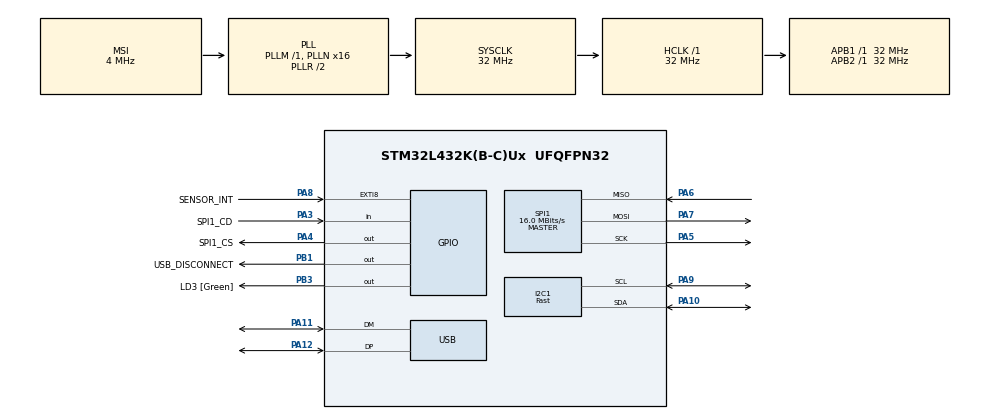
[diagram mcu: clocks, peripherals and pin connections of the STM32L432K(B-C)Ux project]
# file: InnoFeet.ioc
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I2C1.DualAddressMode=I2C_DUALADDRESS_DISABLE
I2C1.I2C_Speed_Mode=I2C_Fast
I2C1.Timing=0x00300F38
Mcu.Family=STM32L4
Mcu.Name=STM32L432K(B-C)Ux
Mcu.Package=UFQFPN32
NVIC.EXTI9_5_IRQn=true\:3\:0\:true\:false\:true\:true
NVIC.PriorityGroup=NVIC_PRIORITYGROUP_4
NVIC.USB_IRQn=true\:0\:0\:false\:false\:true\:false
PA0.GPIO_Label=MCO [High speed clock in]
PA0.Mode=HSE-External-Clock-Source-for-LittleOrca
PA0.Signal=RCC_CK_IN
PA10.Mode=I2C
PA10.Signal=I2C1_SDA
PA11.Mode=Device
PA11.Signal=USB_DM
PA12.Mode=Device
PA12.Signal=USB_DP
PA13\ (JTMS-SWDIO).GPIO_Label=SWDIO
PA13\ (JTMS-SWDIO).Signal=SYS_JTMS-SWDIO
PA14\ (JTCK-SWCLK).GPIO_Label=SWCLK
PA14\ (JTCK-SWCLK).Signal=SYS_JTCK-SWCLK
PA15\ (JTDI).GPIO_Label=VCP_RX
PA15\ (JTDI).Signal=USART2_RX
PA2.GPIO_Label=VCP_TX
PA2.Signal=USART2_TX
PA3.GPIO_Label=SPI1_CD
PA3.Signal=GPIO_Input
PA4.GPIO_Label=SPI1_CS
PA4.Signal=GPIO_Output
PA5.Mode=Full_Duplex_Master
PA5.Signal=SPI1_SCK
PA6.Mode=Full_Duplex_Master
PA6.Signal=SPI1_MISO
PA7.Mode=Full_Duplex_Master
PA7.Signal=SPI1_MOSI
PA8.GPIO_Label=SENSOR_INT
PA8.GPIO_ModeDefaultEXTI=GPIO_MODE_IT_RISING
PA8.Signal=GPXTI8
PA9.Mode=I2C
PA9.Signal=I2C1_SCL
PB1.GPIO_Label=USB_DISCONNECT
PB1.Signal=GPIO_Output
PB3\ (JTDO-TRACESWO).GPIO_Label=LD3 [Green]
PB3\ (JTDO-TRACESWO).Signal=GPIO_Output
PC14-OSC32_IN\ (PC14).Signal=RCC_OSC32_IN
PC15-OSC32_OUT\ (PC15).Signal=RCC_OSC32_OUT
ProjectManager.HeapSize=0x200
ProjectManager.StackSize=0x400
ProjectManager.TargetToolchain=TrueSTUDIO
RCC.ADCFreq_Value=48000000
RCC.AHBFreq_Value=32000000
RCC.APB1Freq_Value=32000000
RCC.APB1TimFreq_Value=32000000
RCC.APB2Freq_Value=32000000
RCC.APB2TimFreq_Value=32000000
RCC.CortexFreq_Value=32000000
RCC.HCLKFreq_Value=32000000
RCC.HSE_VALUE=8000000
RCC.HSI16_VALUE=16000000
RCC.HSI48_VALUE=48000000
RCC.HSI_VALUE=16000000
RCC.LSE_VALUE=0
RCC.MSI_VALUE=4000000
RCC.PLLMUL=RCC_PLLMUL_4
RCC.PLLN=16
RCC.PLLSAI1N=24
RCC.SYSCLKFreq_VALUE=32000000
RCC.SYSCLKSource=RCC_SYSCLKSOURCE_PLLCLK
RCC.USBFreq_Value=48000000
RCC.VCOOutputFreq_Value=64000000
SPI1.CalculateBaudRate=16.0 MBits/s
SPI1.DataSize=SPI_DATASIZE_8BIT
SPI1.Direction=SPI_DIRECTION_2LINES
SPI1.Mode=SPI_MODE_MASTER
SPI1.VirtualType=VM_MASTER
USB_DEVICE.CLASS_NAME_FS=MSC
USB_DEVICE.VirtualMode=Msc
USB_DEVICE.VirtualModeFS=Msc_FS
VP_FATFS_VS_Generic.Mode=User_defined
VP_USB_DEVICE_VS_USB_DEVICE_MSC_FS.Mode=MSC_FS
board=NUCLEO-L432KC

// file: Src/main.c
/**
  ******************************************************************************
  * @file           : main.c
  * @brief          : Main program body
  ******************************************************************************
  * This notice applies to any and all portions of this file
  * that are not between comment pairs USER CODE BEGIN and
  * USER CODE END. Other portions of this file, whether
  * inserted by the user or by software development tools
  * are owned by their respective copyright owners.
  *
  * Copyright (c) 2018 STMicroelectronics International N.V.
  * All rights reserved.
  *
  * Redistribution and use in source and binary forms, with or without
  * modification, are permitted, provided that the following conditions are met:
  *
  * 1. Redistribution of source code must retain the above copyright notice,
  *    this list of conditions and the following disclaimer.
  * 2. Redistributions in binary form must reproduce the above copyright notice,
  *    this list of conditions and the following disclaimer in the documentation
  *    and/or other materials provided with the distribution.
  * 3. Neither the name of STMicroelectronics nor the names of other
  *    contributors to this software may be used to endorse or promote products
  *    derived from this software without specific written permission.
  * 4. This software, including modifications and/or derivative works of this
  *    software, must execute solely and exclusively on microcontroller or
  *    microprocessor devices manufactured by or for STMicroelectronics.
  * 5. Redistribution and use of this software other than as permitted under
  *    this license is void and will automatically terminate your rights under
  *    this license.
  *
  * THIS SOFTWARE IS PROVIDED BY STMICROELECTRONICS AND CONTRIBUTORS "AS IS"
  * AND ANY EXPRESS, IMPLIED OR STATUTORY WARRANTIES, INCLUDING, BUT NOT
  * LIMITED TO, THE IMPLIED WARRANTIES OF MERCHANTABILITY, FITNESS FOR A
  * PARTICULAR PURPOSE AND NON-INFRINGEMENT OF THIRD PARTY INTELLECTUAL PROPERTY
  * RIGHTS ARE DISCLAIMED TO THE FULLEST EXTENT PERMITTED BY LAW. IN NO EVENT
  * SHALL STMICROELECTRONICS OR CONTRIBUTORS BE LIABLE FOR ANY DIRECT, INDIRECT,
  * INCIDENTAL, SPECIAL, EXEMPLARY, OR CONSEQUENTIAL DAMAGES (INCLUDING, BUT NOT
  * LIMITED TO, PROCUREMENT OF SUBSTITUTE GOODS OR SERVICES; LOSS OF USE, DATA,
  * OR PROFITS; OR BUSINESS INTERRUPTION) HOWEVER CAUSED AND ON ANY THEORY OF
  * LIABILITY, WHETHER IN CONTRACT, STRICT LIABILITY, OR TORT (INCLUDING
  * NEGLIGENCE OR OTHERWISE) ARISING IN ANY WAY OUT OF THE USE OF THIS SOFTWARE,
  * EVEN IF ADVISED OF THE POSSIBILITY OF SUCH DAMAGE.
  *
  ******************************************************************************
  */
#include "main.h"
#include "stm32l4xx_hal.h"
#include "fatfs.h"

/* USER CODE BEGIN Includes */
#include <math.h>
#include "sentral.h"

/* USER CODE END Includes */

I2C_HandleTypeDef hi2c1;

SPI_HandleTypeDef hspi1;

/* USER CODE BEGIN PV */
/* Private variables ---------------------------------------------------------*/
static SENtral* sensor;
static FIL file_data_out;
static volatile int interrupted = 0;

enum enState {STATE_ERROR, STATE_STARTING, STATE_MEASURING, STATE_WRITING};
enum enState state = STATE_STARTING;
#define INT_ERROR_BITS (SENtralBitFlags.Error | SENtralBitFlags.CPURest)

/* USER CODE END PV */

void SystemClock_Config(void);
static void MX_GPIO_Init(void);
static void MX_SPI1_Init(void);
static void MX_I2C1_Init(void);

/* USER CODE BEGIN PFP */
/* Private function prototypes -----------------------------------------------*/
static int read_i2c_bytes_cb(int dev_address, int mem_address, byte* const buffer, int n){
	if(HAL_OK == HAL_I2C_Mem_Read(&hi2c1, dev_address, mem_address, 1, buffer, n, 100))
		return SUCCESS;
	else return ERROR;
}
static int write_i2c_bytes_cb(int dev_address, int mem_address, const byte* bytes, int n){
	if(HAL_OK == HAL_I2C_Mem_Write(&hi2c1, dev_address, mem_address, 1, (u_int8_t*)bytes, n, 100))
		return SUCCESS;
	else return ERROR;
}
void blink(int count, int freq) {
	HAL_GPIO_WritePin(LD3_GPIO_Port, LD3_Pin, 0);
	HAL_Delay(freq);

	while(count > 0) {
		HAL_GPIO_TogglePin(LD3_GPIO_Port, LD3_Pin);
		HAL_Delay(freq);
		HAL_GPIO_TogglePin(LD3_GPIO_Port, LD3_Pin);
		HAL_Delay(freq);
		count--;
	}
	HAL_Delay(freq);
}
/* USER CODE END PFP */

int main(void)
{

  /* MCU Configuration----------------------------------------------------------*/

  /* Reset of all peripherals, Initializes the Flash interface and the Systick. */
  HAL_Init();

  /* Configure the system clock */
  SystemClock_Config();

  /* USER CODE BEGIN SysInit */
  HAL_NVIC_DisableIRQ(EXTI9_5_IRQn);
  /* USER CODE END SysInit */

  /* Initialize all configured peripherals */
  MX_GPIO_Init();
  MX_SPI1_Init();
  MX_FATFS_Init();
  MX_I2C1_Init();
  /* USER CODE BEGIN 2 */

  // Initialize memory card
  char* csv_header = "t,qt,qx,qy,qz,qw,mt,mx,my,mz,at,ax,ay,az,gt,gx,gy,gz\n";

  FATFS fs;
  (		f_mount(&fs, "0:", 1) == FR_OK																			)
  && (	f_open(&file_data_out, "data.csv", FA_CREATE_ALWAYS | FA_WRITE) == FR_OK								)
  && (	f_puts(csv_header, &file_data_out) != -1																)
  && (	state = STATE_STARTING																					)
  || (	state = STATE_ERROR																						);

  // Initialize sensor device
  I2C_Interface* i2c = i2c_init(SENtral_DEVICE_ADDRESS << 1, &read_i2c_bytes_cb, &write_i2c_bytes_cb);
  SENtralInit init = SENtralInitDefaults;

  sensor = sentral_init(i2c, init);
  ((	sentral_get_error(sensor) 								== SUCCESS										)
  && (	state 													== STATE_STARTING								)
//  && (	sentral_set_accl_range(sensor, 16)						== SUCCESS										)
//  && (	sentral_set_gyro_range(sensor, 2000)					== SUCCESS										)
  && (  state = STATE_MEASURING																					))
  || (	state = STATE_ERROR																						);

  HAL_GPIO_WritePin(LD3_GPIO_Port, LD3_Pin, 1);
  HAL_NVIC_EnableIRQ(EXTI9_5_IRQn);
  /* USER CODE END 2 */

  /* Infinite loop */
  while (1) {

  /* USER CODE BEGIN 3 */
   	  if(interrupted && state == STATE_MEASURING) {
   		  interrupted = 0;
   		  byte interrupt_cause;

   		  char str[200];
   		  float tb[4];
   		  float mb[13];
   		  sentral_measure_all(sensor, mb, tb);

   		  ( sentral_interrupts_clear(sensor, &interrupt_cause) == SUCCESS )
		  && !( interrupt_cause & INT_ERROR_BITS)
   		  && sprintf(
  			  str,
  			  "%lu, %f, %f,%f,%f,%f, %f, %f,%f,%f, %f, %f,%f,%f, %f, %f,%f,%f\n",
  			  HAL_GetTick(),
  			  tb[0], mb[0x0], mb[0x1], mb[0x2], mb[0x3],
  			  tb[1], mb[0x4], mb[0x5], mb[0x6],
  			  tb[2], mb[0x7], mb[0x8], mb[0x9],
  			  tb[3], mb[0xA], mb[0xB], mb[0xC]
  		  )
   		  && (f_puts(str, &file_data_out) > 0)
		  && (f_sync(&file_data_out) == FR_OK)
  		  || (state = STATE_ERROR);
  	  }
  	  else if(state == STATE_ERROR)
  		  blink(3, 100);
  	  else if (state == STATE_MEASURING)
  		  HAL_GPIO_WritePin(LD3_GPIO_Port, LD3_Pin, 1);
  	  else
  		  HAL_GPIO_WritePin(LD3_GPIO_Port, LD3_Pin, 0);
  }
  /* USER CODE END 3 */

}

void SystemClock_Config(void)
{

  RCC_OscInitTypeDef RCC_OscInitStruct;
  RCC_ClkInitTypeDef RCC_ClkInitStruct;
  RCC_PeriphCLKInitTypeDef PeriphClkInit;

    /**Initializes the CPU, AHB and APB busses clocks
    */
  RCC_OscInitStruct.OscillatorType = RCC_OSCILLATORTYPE_MSI;
  RCC_OscInitStruct.MSIState = RCC_MSI_ON;
  RCC_OscInitStruct.MSICalibrationValue = 0;
  RCC_OscInitStruct.MSIClockRange = RCC_MSIRANGE_6;
  RCC_OscInitStruct.PLL.PLLState = RCC_PLL_ON;
  RCC_OscInitStruct.PLL.PLLSource = RCC_PLLSOURCE_MSI;
  RCC_OscInitStruct.PLL.PLLM = 1;
  RCC_OscInitStruct.PLL.PLLN = 16;
  RCC_OscInitStruct.PLL.PLLP = RCC_PLLP_DIV7;
  RCC_OscInitStruct.PLL.PLLQ = RCC_PLLQ_DIV2;
  RCC_OscInitStruct.PLL.PLLR = RCC_PLLR_DIV2;
  if (HAL_RCC_OscConfig(&RCC_OscInitStruct) != HAL_OK)
  {
    _Error_Handler(__FILE__, __LINE__);
  }

    /**Initializes the CPU, AHB and APB busses clocks
    */
  RCC_ClkInitStruct.ClockType = RCC_CLOCKTYPE_HCLK|RCC_CLOCKTYPE_SYSCLK
                              |RCC_CLOCKTYPE_PCLK1|RCC_CLOCKTYPE_PCLK2;
  RCC_ClkInitStruct.SYSCLKSource = RCC_SYSCLKSOURCE_PLLCLK;
  RCC_ClkInitStruct.AHBCLKDivider = RCC_SYSCLK_DIV1;
  RCC_ClkInitStruct.APB1CLKDivider = RCC_HCLK_DIV1;
  RCC_ClkInitStruct.APB2CLKDivider = RCC_HCLK_DIV1;

  if (HAL_RCC_ClockConfig(&RCC_ClkInitStruct, FLASH_LATENCY_1) != HAL_OK)
  {
    _Error_Handler(__FILE__, __LINE__);
  }

  PeriphClkInit.PeriphClockSelection = RCC_PERIPHCLK_I2C1;
  PeriphClkInit.I2c1ClockSelection = RCC_I2C1CLKSOURCE_PCLK1;
  if (HAL_RCCEx_PeriphCLKConfig(&PeriphClkInit) != HAL_OK)
  {
    _Error_Handler(__FILE__, __LINE__);
  }

    /**Configure the main internal regulator output voltage
    */
  if (HAL_PWREx_ControlVoltageScaling(PWR_REGULATOR_VOLTAGE_SCALE1) != HAL_OK)
  {
    _Error_Handler(__FILE__, __LINE__);
  }

    /**Configure the Systick interrupt time
    */
  HAL_SYSTICK_Config(HAL_RCC_GetHCLKFreq()/1000);

    /**Configure the Systick
    */
  HAL_SYSTICK_CLKSourceConfig(SYSTICK_CLKSOURCE_HCLK);

  /* SysTick_IRQn interrupt configuration */
  HAL_NVIC_SetPriority(SysTick_IRQn, 0, 0);
}

/* I2C1 init function */
static void MX_I2C1_Init(void)
{

  hi2c1.Instance = I2C1;
  hi2c1.Init.Timing = 0x00300F38;
  hi2c1.Init.OwnAddress1 = 0;
  hi2c1.Init.AddressingMode = I2C_ADDRESSINGMODE_7BIT;
  hi2c1.Init.DualAddressMode = I2C_DUALADDRESS_DISABLE;
  hi2c1.Init.OwnAddress2 = 0;
  hi2c1.Init.OwnAddress2Masks = I2C_OA2_NOMASK;
  hi2c1.Init.GeneralCallMode = I2C_GENERALCALL_DISABLE;
  hi2c1.Init.NoStretchMode = I2C_NOSTRETCH_DISABLE;
  if (HAL_I2C_Init(&hi2c1) != HAL_OK)
  {
    _Error_Handler(__FILE__, __LINE__);
  }

    /**Configure Analogue filter
    */
  if (HAL_I2CEx_ConfigAnalogFilter(&hi2c1, I2C_ANALOGFILTER_DISABLE) != HAL_OK)
  {
    _Error_Handler(__FILE__, __LINE__);
  }

    /**Configure Digital filter
    */
  if (HAL_I2CEx_ConfigDigitalFilter(&hi2c1, 0) != HAL_OK)
  {
    _Error_Handler(__FILE__, __LINE__);
  }

}

/* SPI1 init function */
static void MX_SPI1_Init(void)
{

  /* SPI1 parameter configuration*/
  hspi1.Instance = SPI1;
  hspi1.Init.Mode = SPI_MODE_MASTER;
  hspi1.Init.Direction = SPI_DIRECTION_2LINES;
  hspi1.Init.DataSize = SPI_DATASIZE_8BIT;
  hspi1.Init.CLKPolarity = SPI_POLARITY_LOW;
  hspi1.Init.CLKPhase = SPI_PHASE_1EDGE;
  hspi1.Init.NSS = SPI_NSS_SOFT;
  hspi1.Init.BaudRatePrescaler = SPI_BAUDRATEPRESCALER_2;
  hspi1.Init.FirstBit = SPI_FIRSTBIT_MSB;
  hspi1.Init.TIMode = SPI_TIMODE_DISABLE;
  hspi1.Init.CRCCalculation = SPI_CRCCALCULATION_DISABLE;
  hspi1.Init.CRCPolynomial = 7;
  hspi1.Init.CRCLength = SPI_CRC_LENGTH_DATASIZE;
  hspi1.Init.NSSPMode = SPI_NSS_PULSE_ENABLE;
  if (HAL_SPI_Init(&hspi1) != HAL_OK)
  {
    _Error_Handler(__FILE__, __LINE__);
  }

}

/** Configure pins as
        * Analog
        * Input
        * Output
        * EVENT_OUT
        * EXTI
        * Free pins are configured automatically as Analog (this feature is enabled through
        * the Code Generation settings)
     PA2   ------> USART2_TX
     PA15 (JTDI)   ------> USART2_RX
*/
static void MX_GPIO_Init(void)
{

  GPIO_InitTypeDef GPIO_InitStruct;

  /* GPIO Ports Clock Enable */
  __HAL_RCC_GPIOC_CLK_ENABLE();
  __HAL_RCC_GPIOA_CLK_ENABLE();
  __HAL_RCC_GPIOB_CLK_ENABLE();
  __HAL_RCC_GPIOH_CLK_ENABLE();

  /*Configure GPIO pin Output Level */
  HAL_GPIO_WritePin(SPI1_CS_GPIO_Port, SPI1_CS_Pin, GPIO_PIN_RESET);

  /*Configure GPIO pin Output Level */
  HAL_GPIO_WritePin(LD3_GPIO_Port, LD3_Pin, GPIO_PIN_RESET);

  /*Configure GPIO pins : PA1 PA11 PA12 */
  GPIO_InitStruct.Pin = GPIO_PIN_1|GPIO_PIN_11|GPIO_PIN_12;
  GPIO_InitStruct.Mode = GPIO_MODE_ANALOG;
  GPIO_InitStruct.Pull = GPIO_NOPULL;
  HAL_GPIO_Init(GPIOA, &GPIO_InitStruct);

  /*Configure GPIO pin : VCP_TX_Pin */
  GPIO_InitStruct.Pin = VCP_TX_Pin;
  GPIO_InitStruct.Mode = GPIO_MODE_AF_PP;
  GPIO_InitStruct.Pull = GPIO_NOPULL;
  GPIO_InitStruct.Speed = GPIO_SPEED_FREQ_VERY_HIGH;
  GPIO_InitStruct.Alternate = GPIO_AF7_USART2;
  HAL_GPIO_Init(VCP_TX_GPIO_Port, &GPIO_InitStruct);

  /*Configure GPIO pin : SPI1_CD_Pin */
  GPIO_InitStruct.Pin = SPI1_CD_Pin;
  GPIO_InitStruct.Mode = GPIO_MODE_INPUT;
  GPIO_InitStruct.Pull = GPIO_NOPULL;
  HAL_GPIO_Init(SPI1_CD_GPIO_Port, &GPIO_InitStruct);

  /*Configure GPIO pin : SPI1_CS_Pin */
  GPIO_InitStruct.Pin = SPI1_CS_Pin;
  GPIO_InitStruct.Mode = GPIO_MODE_OUTPUT_PP;
  GPIO_InitStruct.Pull = GPIO_NOPULL;
  GPIO_InitStruct.Speed = GPIO_SPEED_FREQ_LOW;
  HAL_GPIO_Init(SPI1_CS_GPIO_Port, &GPIO_InitStruct);

  /*Configure GPIO pins : PB0 PB1 PB4 PB5
                           PB6 PB7 */
  GPIO_InitStruct.Pin = GPIO_PIN_0|GPIO_PIN_1|GPIO_PIN_4|GPIO_PIN_5
                          |GPIO_PIN_6|GPIO_PIN_7;
  GPIO_InitStruct.Mode = GPIO_MODE_ANALOG;
  GPIO_InitStruct.Pull = GPIO_NOPULL;
  HAL_GPIO_Init(GPIOB, &GPIO_InitStruct);

  /*Configure GPIO pin : SENSOR_INT_Pin */
  GPIO_InitStruct.Pin = SENSOR_INT_Pin;
  GPIO_InitStruct.Mode = GPIO_MODE_IT_RISING;
  GPIO_InitStruct.Pull = GPIO_NOPULL;
  HAL_GPIO_Init(SENSOR_INT_GPIO_Port, &GPIO_InitStruct);

  /*Configure GPIO pin : VCP_RX_Pin */
  GPIO_InitStruct.Pin = VCP_RX_Pin;
  GPIO_InitStruct.Mode = GPIO_MODE_AF_PP;
  GPIO_InitStruct.Pull = GPIO_NOPULL;
  GPIO_InitStruct.Speed = GPIO_SPEED_FREQ_VERY_HIGH;
  GPIO_InitStruct.Alternate = GPIO_AF3_USART2;
  HAL_GPIO_Init(VCP_RX_GPIO_Port, &GPIO_InitStruct);

  /*Configure GPIO pin : LD3_Pin */
  GPIO_InitStruct.Pin = LD3_Pin;
  GPIO_InitStruct.Mode = GPIO_MODE_OUTPUT_PP;
  GPIO_InitStruct.Pull = GPIO_NOPULL;
  GPIO_InitStruct.Speed = GPIO_SPEED_FREQ_LOW;
  HAL_GPIO_Init(LD3_GPIO_Port, &GPIO_InitStruct);

  /*Configure GPIO pin : PH3 */
  GPIO_InitStruct.Pin = GPIO_PIN_3;
  GPIO_InitStruct.Mode = GPIO_MODE_ANALOG;
  GPIO_InitStruct.Pull = GPIO_NOPULL;
  HAL_GPIO_Init(GPIOH, &GPIO_InitStruct);

  /* EXTI interrupt init*/
  HAL_NVIC_SetPriority(EXTI9_5_IRQn, 3, 0);
  HAL_NVIC_EnableIRQ(EXTI9_5_IRQn);

}

/* USER CODE BEGIN 4 */
void HAL_GPIO_EXTI_Callback(uint16_t GPIO_Pin){
	HAL_NVIC_ClearPendingIRQ(EXTI9_5_IRQn);

	if(GPIO_Pin == SENSOR_INT_Pin) {
		if(state == STATE_MEASURING) {
			interrupted = 1;
		}
		else HAL_NVIC_DisableIRQ(EXTI9_5_IRQn);
	}

//	byte src;
//	sentral_interrupts_clear(sensor, &src);
}
/* USER CODE END 4 */

void _Error_Handler(char *file, int line)
{
  while(1)
  {
  }
}

/************************ (C) COPYRIGHT STMicroelectronics *****END OF FILE****/
